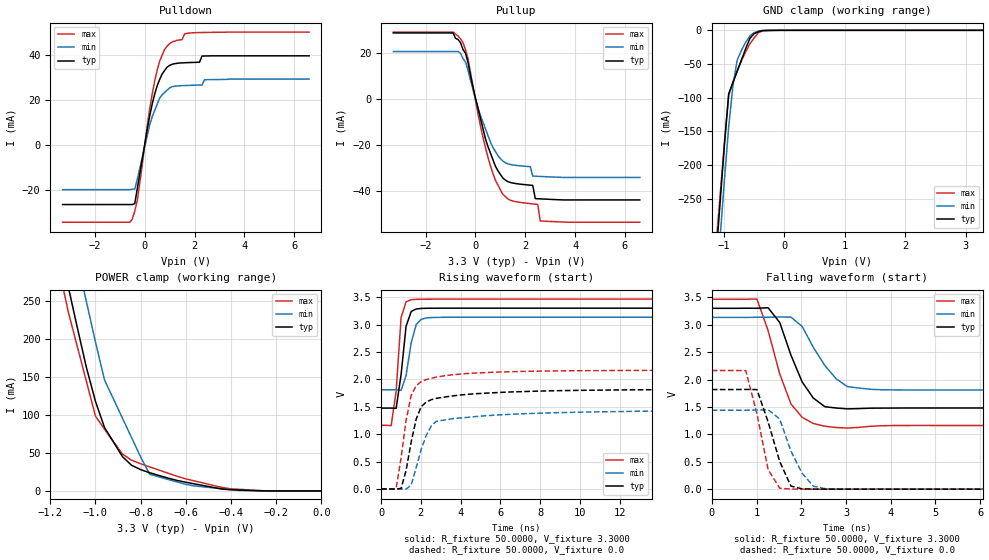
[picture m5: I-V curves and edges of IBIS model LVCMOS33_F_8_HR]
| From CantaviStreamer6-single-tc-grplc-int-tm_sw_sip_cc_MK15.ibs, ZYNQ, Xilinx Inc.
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[Model]  LVCMOS33_F_8_HR
Model_type I/O
Polarity   Non-Inverting
Enable   Active-Low
Vinl =   0.8000V
Vinh =   2.0000V
Vmeas =  1.6500V
Cref =   0.0F
Rref =   1.0000M
Vref =   0.0V
C_comp   5.23pF   5.19pF   5.36pF
[Temperature Range]   25.0000   85.0000   0.0
[Voltage Range]   3.3000V   3.1350V   3.4650V
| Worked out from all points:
|   slope of the pulldown table from 0 to 0.495 V, typ, clamps not added: 19.2 ohm
|   slope of the pullup table from 0 to 0.495 V, typ, clamps not added: 23.7 ohm
|   GND clamp passes 1 mA (typ) near -0.38 V on its own axis
|   POWER clamp passes 1 mA (typ) near -0.35 V on its own axis
|   rising waveform, R_fixture 50.0000, V_fixture 3.3000: 20-80 % time 340ps typ, 409ps min, 291ps max; typ from 1.48 V to 3.3 V
|   rising waveform, R_fixture 50.0000, V_fixture 0.0: 20-80 % time 696ps typ, 837ps min, 602ps max; typ from 0 V to 1.82 V
|   falling waveform, R_fixture 50.0000, V_fixture 3.3000: 20-80 % time 553ps typ, 633ps min, 528ps max; typ from 3.3 V to 1.48 V
|   falling waveform, R_fixture 50.0000, V_fixture 0.0: 20-80 % time 434ps typ, 448ps min, 344ps max; typ from 1.82 V to 0 V
[Pulldown]
|Voltage   I(typ)   I(min)   I(max)
-3.3V     -26.44mA   -19.83mA   -34.28mA
-500mV    -26.44mA   -19.6mA    -32.84mA
-400mV    -25.99mA   -19.6mA    -29.3mA
-300mV    -19.42mA   -15.27mA   -24.66mA
100mV     6.921mA    4.13mA     8.579mA
400mV     22.66mA    15.34mA    28.51mA
600mV     29.19mA    20.84mA    37.22mA
1V        35.37mA    25.37mA    45.01mA
1.8V      36.62mA    26.49mA    49.72mA
2.3V      39.5mA     26.64mA    49.96mA
2.4V      39.53mA    29mA       49.98mA
6.6V      39.61mA    29.29mA    50.15mA
[Pullup]
|Voltage   I(typ)   I(min)   I(max)
-3.3V     28.67mA    20.6mA     29.04mA
-900mV    28.67mA    20.6mA     29.04mA
-600mV    24.41mA    19.81mA    26.12mA
-300mV    15.86mA    12.39mA    17.47mA
200mV     -8.375mA   -7.116mA   -11.65mA
600mV     -23.39mA   -18.62mA   -28.95mA
1.3V      -35.78mA   -28.08mA   -43.28mA
2.2V      -37.33mA   -29.27mA   -45.33mA
2.3V      -37.42mA   -33.37mA   -45.44mA
2.5V      -43.2mA    -33.49mA   -45.65mA
2.6V      -43.26mA   -33.54mA   -52.82mA
6.6V      -43.72mA   -33.96mA   -53.37mA
[GND_clamp]
|Voltage   I(typ)   I(min)   I(max)
-3.3V     -3.592A    -3.646A    -3.573A
-1.13V    -336.9mA   -396.8mA   -319.4mA
-1.06V    -252.8mA   -305.2mA   -242.5mA
-990mV    -168.8mA   -221mA     -165.6mA
-920mV    -94.19mA   -142.9mA   -96.7mA
-850mV    -77.46mA   -82.12mA   -76.37mA
-780mV    -60.73mA   -44.27mA   -60.18mA
-570mV    -11.88mA   -8.371mA   -20mA
-500mV    -5.017mA   -3.404mA   -11.35mA
-430mV    -2.093mA   -1.051mA   -3.683mA
-290mV    -295.5uA   -171.3uA   -76.96uA
3.28V     572.8nA    2.405uA    13.75nA
[POWER_clamp]
|Voltage   I(typ)   I(min)   I(max)
-3.28V    3.564A     3.617A     3.545A
-1.16V    321.7mA    407.8mA    290.1mA
-1.12V    268mA      354.8mA    234.9mA
-1.08V    214.3mA    301.8mA    189.4mA
-1.04V    162.2mA    248.8mA    143.9mA
-1V       117.8mA    195.8mA    98.4mA
-960mV    83.41mA    145.9mA    81.08mA
-880mV    44.88mA    95.3mA     48.33mA
-760mV    23.94mA    21.89mA    31.62mA
-600mV    11.42mA    8.643mA    15.85mA
-400mV    1.59mA     1.721mA    2.737mA
0V        19.62nA    164.8nA    26.23nA
[Ramp]
| variable   typ   min   max
dV/dt_r  1.0908/0.6863n   0.8622/0.8274n   1.2996/0.5917n
dV/dt_f  1.092/0.6176n   0.792/0.7231n   1.3818/0.5177n
R_load = 50.0000
[Rising Waveform]
R_fixture= 50.0000
V_fixture= 3.3000
V_fixture_min= 3.1350
V_fixture_max= 3.46500
|time   V(typ)   V(min)   V(max)
0s        1.476V     1.81V      1.162V
510ps     1.476V     1.81V      1.156V
760ps     1.47V      1.809V     1.782V
1.01ns    2.088V     1.8V       3.128V
1.26ns    2.969V     2.072V     3.414V
1.52ns    3.239V     2.671V     3.454V
1.77ns    3.284V     3V         3.46V
2.02ns    3.294V     3.095V     3.462V
2.53ns    3.298V     3.128V     3.463V
19.19ns   3.3V       3.134V     3.465V
[Rising Waveform]
R_fixture= 50.0000
V_fixture= 0.0
|time   V(typ)   V(min)   V(max)
0s        0V         0V         0V
760ps     -1.086mV   0V         11.96mV
1.01ns    10.1mV     -571.4uV   567.2mV
1.26ns    338.2mV    -2.569mV   1.251V
1.52ns    862.6mV    73.19mV    1.711V
1.77ns    1.275V     389.6mV    1.885V
2.02ns    1.501V     722.3mV    1.959V
2.53ns    1.63V      1.152V     2.02V
7.32ns    1.779V     1.375V     2.146V
25ns      1.818V     1.437V     2.166V
[Falling Waveform]
R_fixture= 50.0000
V_fixture= 3.3000
V_fixture_min= 3.1350
V_fixture_max= 3.46500
|time   V(typ)   V(min)   V(max)
0s        3.3V       3.135V     3.465V
1.01ns    3.301V     3.137V     3.469V
1.26ns    3.31V      3.136V     2.892V
1.52ns    3.04V      3.142V     2.101V
1.77ns    2.446V     3.14V      1.555V
2.02ns    1.958V     2.969V     1.311V
2.53ns    1.504V     2.254V     1.148V
3.03ns    1.465V     1.872V     1.115V
3.79ns    1.479V     1.814V     1.157V
15.15ns   1.48V      1.809V     1.162V
[Falling Waveform]
R_fixture= 50.0000
V_fixture= 0.0
|time   V(typ)   V(min)   V(max)
0s        1.818V     1.44V      2.165V
760ps     1.82V      1.44V      2.163V
1.01ns    1.817V     1.444V     1.374V
1.26ns    1.226V     1.449V     355.7mV
1.52ns    501.9mV    1.279V     16.12mV
1.77ns    56.22mV    692.8mV    1.472mV
2.02ns    5.543mV    290.1mV    511.9uV
2.27ns    1.265mV    55.19mV    271.9uV
2.78ns    298.9uV    2.205mV    151.3uV
6.57ns    0V         0V         0V
